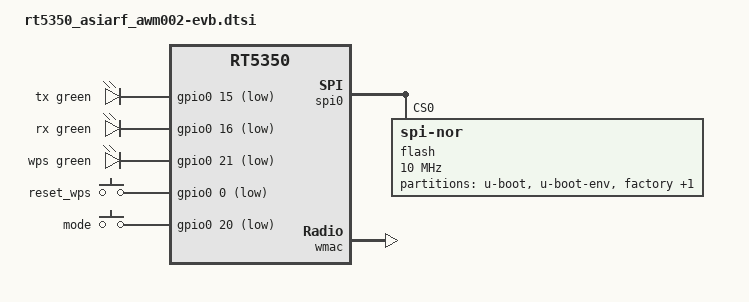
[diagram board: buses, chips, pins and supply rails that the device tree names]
#include "rt5350.dtsi"

#include <dt-bindings/gpio/gpio.h>
#include <dt-bindings/input/input.h>
#include <dt-bindings/leds/common.h>

/ {
	compatible = "asiarf,awm002-evb", "ralink,rt5350-soc";

	leds {
		compatible = "gpio-leds";

		tx {
			function = LED_FUNCTION_TX;
			color = <LED_COLOR_ID_GREEN>;
			gpios = <&gpio0 15 GPIO_ACTIVE_LOW>;
		};

		rx {
			function = LED_FUNCTION_RX;
			color = <LED_COLOR_ID_GREEN>;
			gpios = <&gpio0 16 GPIO_ACTIVE_LOW>;
		};

		wps {
			function = LED_FUNCTION_WPS;
			color = <LED_COLOR_ID_GREEN>;
			gpios = <&gpio0 21 GPIO_ACTIVE_LOW>;
		};
	};

	keys {
		compatible = "gpio-keys";

		reset_wps {
			label = "reset_wps";
			gpios = <&gpio0 0 GPIO_ACTIVE_LOW>;
			linux,code = <KEY_RESTART>;
		};

		mode {
			label = "mode";
			gpios = <&gpio0 20 GPIO_ACTIVE_LOW>;
			linux,code = <BTN_0>;
		};
	};
};

&spi0 {
	status = "okay";

	flash@0 {
		reg = <0>;
		compatible = "jedec,spi-nor";
		spi-max-frequency = <10000000>;

		partitions {
			compatible = "fixed-partitions";
			#address-cells = <1>;
			#size-cells = <1>;

			partition@0 {
				label = "u-boot";
				reg = <0x0 0x30000>;
				read-only;
			};

			partition@30000 {
				label = "u-boot-env";
				reg = <0x30000 0x10000>;
				read-only;
			};

			partition@40000 {
				label = "factory";
				reg = <0x40000 0x10000>;
				read-only;

				nvmem-layout {
					compatible = "fixed-layout";
					#address-cells = <1>;
					#size-cells = <1>;

					eeprom_factory_0: eeprom@0 {
						reg = <0x0 0x200>;
					};

					macaddr_factory_28: macaddr@28 {
						reg = <0x28 0x6>;
					};
				};
			};

			firmware: partition@50000 {
				compatible = "denx,uimage";
				label = "firmware";
				/* reg property is set based on flash size in DTS files */
			};
		};
	};
};

&ethernet {
	nvmem-cells = <&macaddr_factory_28>;
	nvmem-cell-names = "mac-address";
};

&wmac {
	nvmem-cells = <&eeprom_factory_0>;
	nvmem-cell-names = "eeprom";
};

&state_default {
	gpio {
		groups = "i2c", "jtag";
		function = "gpio";
	};
};

&esw {
	mediatek,portmap = <0x3f>;
};
